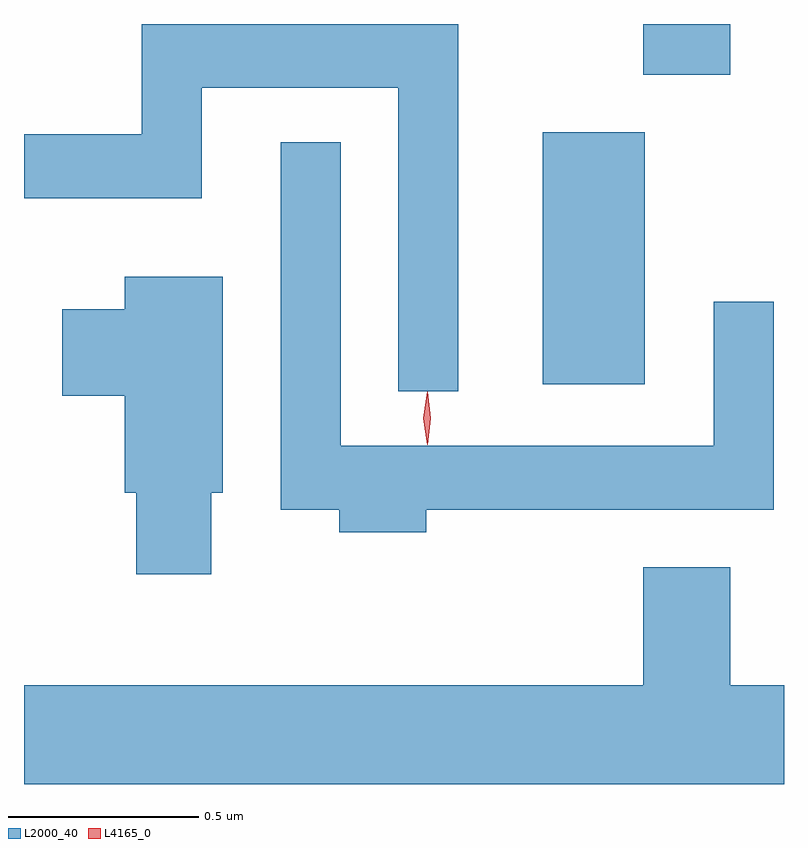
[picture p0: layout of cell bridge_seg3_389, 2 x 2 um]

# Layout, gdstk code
import gdstk
lib = gdstk.Library(unit=1e-6, precision=1e-09)
def R(c, l, rs):  # rectangles x0, y0, x1, y1
    for r in rs: c.add(gdstk.rectangle(r[:2], r[2:], *l))
def P(c, l, *ps):  # polygons
    for p in ps: c.add(gdstk.Polygon(p, *l))
L2000_40 = (2000, 40)
L4165_0 = (4165, 0)

bridge_seg3_389 = lib.new_cell('bridge_seg3_389')
R(bridge_seg3_389, L2000_40, [(578.596,1175.916,578.864,1176.579), (578.861,1176.731,579.089,1176.864)])
P(bridge_seg3_389, L2000_40, [(578.374,1176.864),(577.541,1176.864),(577.541,1176.574),(577.231,1176.574),(577.231,1176.406),(577.699,1176.406),(577.699,1176.696),(578.216,1176.696),(578.216,1175.898),(578.374,1175.898)],
  [(578.289,1175.586),(579.204,1175.586),(579.204,1176.133),(579.046,1176.133),(579.046,1175.754),(578.064,1175.754),(578.064,1176.553),(577.906,1176.553),(577.906,1175.586),(578.061,1175.586),(578.061,1175.526),(578.289,1175.526)],
  [(577.724,1175.631),(577.754,1175.631),(577.754,1176.199),(577.496,1176.199),(577.496,1176.114),(577.331,1176.114),(577.331,1175.886),(577.496,1175.886),(577.496,1175.631),(577.526,1175.631),(577.526,1175.416),(577.724,1175.416)],
  [(579.231,1175.124),(579.089,1175.124),(579.089,1175.434),(578.861,1175.434),(578.861,1175.124),(577.231,1175.124),(577.231,1174.864),(579.231,1174.864)])
P(bridge_seg3_389, L4165_0, [(578.292,1175.757),(578.292,1175.757),(578.282,1175.827),(578.292,1175.896),(578.292,1175.896),(578.293,1175.896),(578.302,1175.827),(578.293,1175.757)])

lib.write_gds('bridge_seg3_389.gds')
